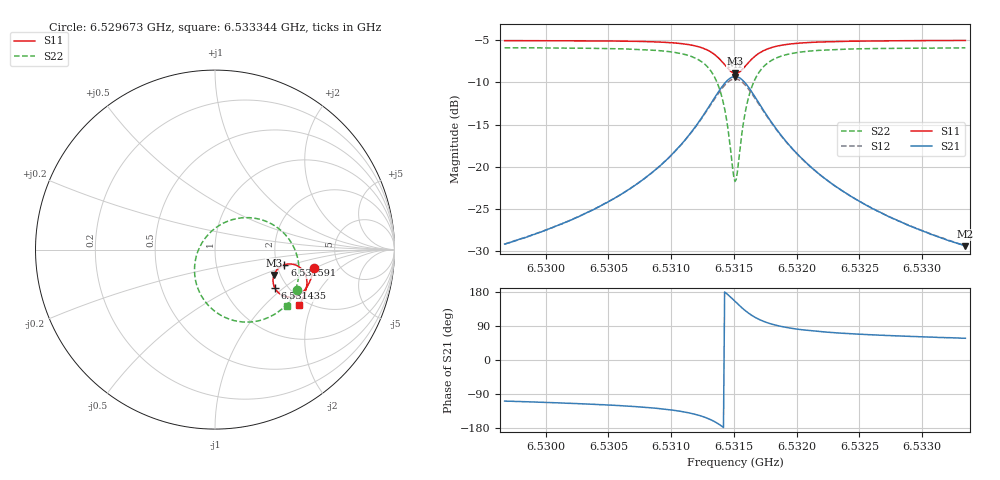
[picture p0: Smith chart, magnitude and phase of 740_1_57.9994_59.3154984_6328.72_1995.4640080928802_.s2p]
#  HZ  S  RI  R  50.00
! Rohde & Schwarz Vector Network Analyzer
! Rohde-Schwarz,ZNB20-2Port,1311601062101988,3.16
! Created: UTC 3/21/2024, 1:23:27 AM
! freq[Hz]  re:S11  im:S11  re:S21  im:S21  re:S12  im:S12  re:S22  im:S22
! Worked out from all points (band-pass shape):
!   401 points, 6.529673 GHz to 6.533344 GHz, reference 50 ohm
!   highest |S21| = -9.30 dB at 6.531508 GHz (marker M1); lowest = -29.4 dB at 6.533344 GHz (marker M2)
!   |S21| within 3 dB of the highest: 6.531325 GHz to 6.531693 GHz (367.1 kHz wide, 0.00562 % of centre)
!   lowest |S11| = -8.9 dB at 6.531508 GHz (marker M3), VSWR 2.11, Z = 92.7 - j30 ohm
!   |S11| at or under -10 dB: nowhere
!   |S22| runs from -21.8 to -5.9 dB; largest |S21 - S12| = 0.015
!   S11 on the Smith chart (normalised r, x): 6.529673 GHz: 3.22, -0.98; 6.531435 GHz: 1.72, -0.87; 6.531591 GHz: 2.20, -0.44; 6.533344 GHz: 1.81, -1.64
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6.5296732e9  0.5502 -0.1045  -0.0109 -0.033  -0.0116 -0.0327  0.4566 -0.2225
6.5302879e9  0.5365 -0.1566  -0.0223 -0.0465  -0.0234 -0.046  0.4198 -0.2806
6.5306275e9  0.5229 -0.1892  -0.0365 -0.0602  -0.038 -0.0593  0.3826 -0.3219
6.5309027e9  0.5033 -0.2204  -0.0617 -0.0785  -0.0641 -0.0767  0.326 -0.3638
6.531123e9  0.4707 -0.2498  -0.1102 -0.0983  -0.1132 -0.0941  0.2293 -0.3995
6.531279e9  0.4193 -0.2651  -0.19 -0.0989  -0.1917 -0.0904  0.0855 -0.3894
6.5313707e9  0.3687 -0.2517  -0.2675 -0.0593  -0.2645 -0.0477  -0.0405 -0.307
6.5314074e9  0.3468 -0.2337  -0.2992 -0.022  -0.2929 -0.0105  -0.0859 -0.2383
6.531435e9  0.3332 -0.2136  -0.3176 0.0163  -0.3083 0.0268  -0.1085 -0.1711
6.53149e9  0.3241 -0.16  -0.3217 0.113  -0.3085 0.1179  -0.0964 -0.0121
6.5315084e9  0.3287 -0.141  -0.3104 0.1458  -0.2968 0.1482  -0.0717 0.039
6.5315267e9  0.3372 -0.1234  -0.2927 0.1757  -0.2796 0.176  -0.0372 0.0846
6.5315634e9  0.363 -0.0961  -0.2435 0.2211  -0.2329 0.2177  0.0508 0.1497
6.531591e9  0.3864 -0.0844  -0.2016 0.2401  -0.1933 0.2354  0.1231 0.1732
6.5316185e9  0.4095 -0.0799  -0.1608 0.247  -0.1548 0.2421  0.1916 0.1779
6.5316552e9  0.4367 -0.0822  -0.1137 0.2432  -0.11 0.2388  0.2695 0.163
6.5317469e9  0.4811 -0.1062  -0.0385 0.206  -0.037 0.2037  0.3907 0.0843
6.5318846e9  0.5062 -0.1461  0.00525 0.1504  0.00648 0.1496  0.4545 -0.026
6.5321232e9  0.5121 -0.1934  0.0222 0.0954  0.0234 0.0951  0.4673 -0.1376
6.5323985e9  0.5055 -0.2291  0.0237 0.0649  0.0247 0.0646  0.4542 -0.2058
6.532738e9  0.4935 -0.2622  0.0217 0.0454  0.0225 0.0451  0.4338 -0.2566
6.5333436e9  0.4688 -0.309  0.0182 0.0284  0.0189 0.0282  0.3984 -0.3139
